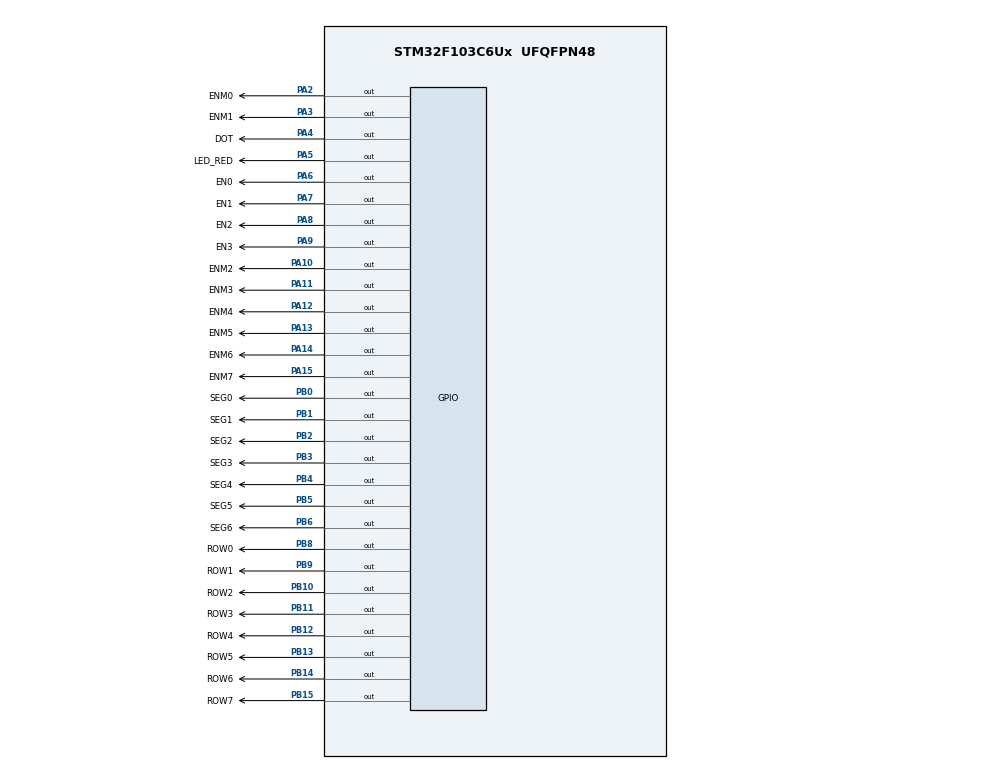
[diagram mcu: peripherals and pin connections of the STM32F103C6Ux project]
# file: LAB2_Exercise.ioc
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Mcu.Family=STM32F1
Mcu.Name=STM32F103C6Ux
Mcu.Package=UFQFPN48
NVIC.PriorityGroup=NVIC_PRIORITYGROUP_4
NVIC.TIM2_IRQn=true\:0\:0\:false\:false\:true\:true\:true\:true
PA10.GPIO_Label=ENM2
PA10.Signal=GPIO_Output
PA11.GPIO_Label=ENM3
PA11.Signal=GPIO_Output
PA12.GPIO_Label=ENM4
PA12.Signal=GPIO_Output
PA13.GPIO_Label=ENM5
PA13.Signal=GPIO_Output
PA14.GPIO_Label=ENM6
PA14.Signal=GPIO_Output
PA15.GPIO_Label=ENM7
PA15.Signal=GPIO_Output
PA2.GPIO_Label=ENM0
PA2.Signal=GPIO_Output
PA3.GPIO_Label=ENM1
PA3.Signal=GPIO_Output
PA4.GPIO_Label=DOT
PA4.Signal=GPIO_Output
PA5.GPIO_Label=LED_RED
PA5.Signal=GPIO_Output
PA6.GPIO_Label=EN0
PA6.Signal=GPIO_Output
PA7.GPIO_Label=EN1
PA7.Signal=GPIO_Output
PA8.GPIO_Label=EN2
PA8.Signal=GPIO_Output
PA9.GPIO_Label=EN3
PA9.Signal=GPIO_Output
PB0.GPIO_Label=SEG0
PB0.Signal=GPIO_Output
PB1.GPIO_Label=SEG1
PB1.Signal=GPIO_Output
PB10.GPIO_Label=ROW2
PB10.Signal=GPIO_Output
PB11.GPIO_Label=ROW3
PB11.Signal=GPIO_Output
PB12.GPIO_Label=ROW4
PB12.Signal=GPIO_Output
PB13.GPIO_Label=ROW5
PB13.Signal=GPIO_Output
PB14.GPIO_Label=ROW6
PB14.Signal=GPIO_Output
PB15.GPIO_Label=ROW7
PB15.Signal=GPIO_Output
PB2.GPIO_Label=SEG2
PB2.Signal=GPIO_Output
PB3.GPIO_Label=SEG3
PB3.Signal=GPIO_Output
PB4.GPIO_Label=SEG4
PB4.Signal=GPIO_Output
PB5.GPIO_Label=SEG5
PB5.Signal=GPIO_Output
PB6.GPIO_Label=SEG6
PB6.Signal=GPIO_Output
PB8.GPIO_Label=ROW0
PB8.Signal=GPIO_Output
PB9.GPIO_Label=ROW1
PB9.Signal=GPIO_Output
ProjectManager.HeapSize=0x200
ProjectManager.StackSize=0x400
ProjectManager.TargetToolchain=STM32CubeIDE
RCC.APB1Freq_Value=8000000
RCC.APB2Freq_Value=8000000
TIM2.Period=9
TIM2.Prescaler=799
VP_SYS_VS_ND.Mode=No_Debug
VP_TIM2_VS_ClockSourceINT.Mode=Internal
board=custom

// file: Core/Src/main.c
/* USER CODE BEGIN Header */
/**
 ******************************************************************************
 * @file           : main.c
 * @brief          : Main program body
 ******************************************************************************
 * @attention
 *
 * <h2><center>&copy; Copyright (c) 2024 STMicroelectronics.
 * All rights reserved.</center></h2>
 *
 * This software component is licensed by ST under BSD 3-Clause license,
 * the "License"; You may not use this file except in compliance with the
 * License. You may obtain a copy of the License at:
 *                        opensource.org/licenses/BSD-3-Clause
 *
 ******************************************************************************
 */
/* USER CODE END Header */
#include "main.h"

/* USER CODE BEGIN Includes */
#include"software_timer.h"
#include"display.h"
/* USER CODE END Includes */

TIM_HandleTypeDef htim2;

void SystemClock_Config(void);
static void MX_GPIO_Init(void);
static void MX_TIM2_Init(void);

/* USER CODE BEGIN 0 */
const int MAX_LED = 4;
int index_led = 0;
int led_buffer[4] = { 0, 0, 0, 0 };
int hour = 15, minute = 8, second = 50;
void updateClockBuffer() {
	led_buffer[0] = hour / 10;
	led_buffer[1] = hour % 10;
	led_buffer[2] = minute / 10;
	led_buffer[3] = minute % 10;
}
void update7SEG(int index) {
	turnoffLEDs();
	switch (index) {

	case 0:
		HAL_GPIO_WritePin(EN0_GPIO_Port, EN0_Pin, RESET);
		display7SEG(led_buffer[0]);
		break;
	case 1:

		HAL_GPIO_WritePin(EN1_GPIO_Port, EN1_Pin, RESET);
		display7SEG(led_buffer[1]);
		break;
	case 2:

		HAL_GPIO_WritePin(EN2_GPIO_Port, EN2_Pin, RESET);
		display7SEG(led_buffer[2]);
		break;
	case 3:

		HAL_GPIO_WritePin(EN3_GPIO_Port, EN3_Pin, RESET);
		display7SEG(led_buffer[3]);
		break;
	default:
		break;
	}
}
/* USER CODE END 0 */

int main(void) {

	/* MCU Configuration--------------------------------------------------------*/

	/* Reset of all peripherals, Initializes the Flash interface and the Systick. */
	HAL_Init();

	/* Configure the system clock */
	SystemClock_Config();

	/* Initialize all configured peripherals */
	MX_GPIO_Init();
	MX_TIM2_Init();
	/* USER CODE BEGIN 2 */
	HAL_TIM_Base_Start_IT(&htim2);
	/* USER CODE END 2 */

	/* Infinite loop */
	/* USER CODE BEGIN WHILE */
	setTimer(0, 1);
	setTimer(1, 100);
	while (1) {
		if (isTimerExpired(0) == 1) {
			setTimer(0, 25);

			second++;
			if (second >= 60) {
				second = 0;
				minute++;

			}
			/* USER CODE END WHILE */
			if (minute >= 60) {
				minute = 0;
				hour++;
			}
			if (hour >= 24) {
				hour = 0;
			}
			updateClockBuffer();
			update7SEG(index_led++ % 4);

		}
		if (isTimerExpired(1) == 1) {
			HAL_GPIO_TogglePin(DOT_GPIO_Port, DOT_Pin);
			setTimer(1, 100);
		}
	}
}

void SystemClock_Config(void) {
	RCC_OscInitTypeDef RCC_OscInitStruct = { 0 };
	RCC_ClkInitTypeDef RCC_ClkInitStruct = { 0 };

	/** Initializes the RCC Oscillators according to the specified parameters
	 * in the RCC_OscInitTypeDef structure.
	 */
	RCC_OscInitStruct.OscillatorType = RCC_OSCILLATORTYPE_HSI;
	RCC_OscInitStruct.HSIState = RCC_HSI_ON;
	RCC_OscInitStruct.HSICalibrationValue = RCC_HSICALIBRATION_DEFAULT;
	RCC_OscInitStruct.PLL.PLLState = RCC_PLL_NONE;
	if (HAL_RCC_OscConfig(&RCC_OscInitStruct) != HAL_OK) {
		Error_Handler();
	}
	/** Initializes the CPU, AHB and APB buses clocks
	 */
	RCC_ClkInitStruct.ClockType = RCC_CLOCKTYPE_HCLK | RCC_CLOCKTYPE_SYSCLK
			| RCC_CLOCKTYPE_PCLK1 | RCC_CLOCKTYPE_PCLK2;
	RCC_ClkInitStruct.SYSCLKSource = RCC_SYSCLKSOURCE_HSI;
	RCC_ClkInitStruct.AHBCLKDivider = RCC_SYSCLK_DIV1;
	RCC_ClkInitStruct.APB1CLKDivider = RCC_HCLK_DIV1;
	RCC_ClkInitStruct.APB2CLKDivider = RCC_HCLK_DIV1;

	if (HAL_RCC_ClockConfig(&RCC_ClkInitStruct, FLASH_LATENCY_0) != HAL_OK) {
		Error_Handler();
	}
}

static void MX_TIM2_Init(void) {

	TIM_ClockConfigTypeDef sClockSourceConfig = { 0 };
	TIM_MasterConfigTypeDef sMasterConfig = { 0 };

	htim2.Instance = TIM2;
	htim2.Init.Prescaler = 7999;
	htim2.Init.CounterMode = TIM_COUNTERMODE_UP;
	htim2.Init.Period = 9;
	htim2.Init.ClockDivision = TIM_CLOCKDIVISION_DIV1;
	htim2.Init.AutoReloadPreload = TIM_AUTORELOAD_PRELOAD_DISABLE;
	if (HAL_TIM_Base_Init(&htim2) != HAL_OK) {
		Error_Handler();
	}
	sClockSourceConfig.ClockSource = TIM_CLOCKSOURCE_INTERNAL;
	if (HAL_TIM_ConfigClockSource(&htim2, &sClockSourceConfig) != HAL_OK) {
		Error_Handler();
	}
	sMasterConfig.MasterOutputTrigger = TIM_TRGO_RESET;
	sMasterConfig.MasterSlaveMode = TIM_MASTERSLAVEMODE_DISABLE;
	if (HAL_TIMEx_MasterConfigSynchronization(&htim2, &sMasterConfig)
			!= HAL_OK) {
		Error_Handler();
	}

}

static void MX_GPIO_Init(void) {
	GPIO_InitTypeDef GPIO_InitStruct = { 0 };

	/* GPIO Ports Clock Enable */
	__HAL_RCC_GPIOA_CLK_ENABLE();
	__HAL_RCC_GPIOB_CLK_ENABLE();

	/*Configure GPIO pin Output Level */
	HAL_GPIO_WritePin(GPIOA,
	DOT_Pin | LED_RED_Pin | EN0_Pin | EN1_Pin | EN2_Pin | EN3_Pin,
			GPIO_PIN_RESET);

	/*Configure GPIO pin Output Level */
	HAL_GPIO_WritePin(GPIOB,
	SEG0_Pin | SEG1_Pin | SEG2_Pin | SEG3_Pin | SEG4_Pin | SEG5_Pin | SEG6_Pin,
			GPIO_PIN_RESET);

	/*Configure GPIO pins : DOT_Pin LED_RED_Pin EN0_Pin EN1_Pin
	 EN2_Pin EN3_Pin */
	GPIO_InitStruct.Pin = DOT_Pin | LED_RED_Pin | EN0_Pin | EN1_Pin | EN2_Pin
			| EN3_Pin;
	GPIO_InitStruct.Mode = GPIO_MODE_OUTPUT_PP;
	GPIO_InitStruct.Pull = GPIO_NOPULL;
	GPIO_InitStruct.Speed = GPIO_SPEED_FREQ_LOW;
	HAL_GPIO_Init(GPIOA, &GPIO_InitStruct);

	/*Configure GPIO pins : SEG0_Pin SEG1_Pin SEG2_Pin SEG3_Pin
	 SEG4_Pin SEG5_Pin SEG6_Pin */
	GPIO_InitStruct.Pin = SEG0_Pin | SEG1_Pin | SEG2_Pin | SEG3_Pin | SEG4_Pin
			| SEG5_Pin | SEG6_Pin;
	GPIO_InitStruct.Mode = GPIO_MODE_OUTPUT_PP;
	GPIO_InitStruct.Pull = GPIO_NOPULL;
	GPIO_InitStruct.Speed = GPIO_SPEED_FREQ_LOW;
	HAL_GPIO_Init(GPIOB, &GPIO_InitStruct);

}

/* USER CODE BEGIN 4 */

void HAL_TIM_PeriodElapsedCallback(TIM_HandleTypeDef *htim) {

	timerRun();

}
/* USER CODE END 4 */

void Error_Handler(void) {
	__disable_irq();
	while (1) {
	}
}

/************************ (C) COPYRIGHT STMicroelectronics *****END OF FILE****/
